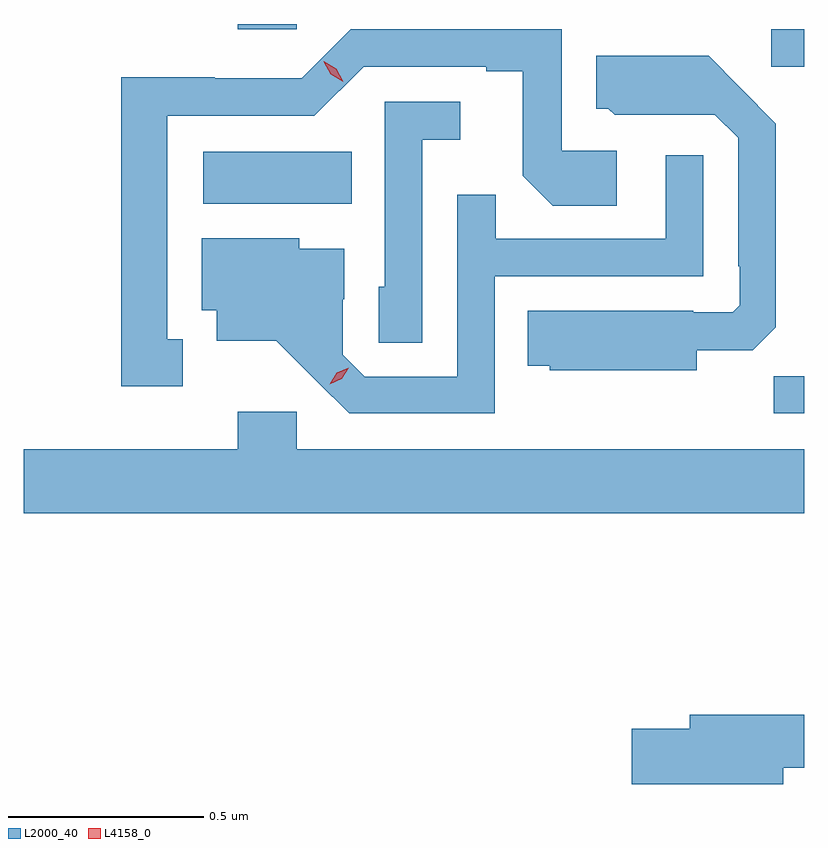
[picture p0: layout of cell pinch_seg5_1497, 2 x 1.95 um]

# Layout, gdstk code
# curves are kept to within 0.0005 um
import gdstk
lib = gdstk.Library(unit=1e-6, precision=1e-09)
def R(c, l, rs):  # rectangles x0, y0, x1, y1
    for r in rs: c.add(gdstk.rectangle(r[:2], r[2:], *l))
def P(c, l, *ps):  # polygons
    for p in ps: c.add(gdstk.Polygon(p, *l))
L2000_40 = (2000, 40)
L4158_0 = (4158, 0)

pinch_seg5_1497 = lib.new_cell('pinch_seg5_1497')
R(pinch_seg5_1497, L2000_40, [(162.37,882.324,162.448,882.419), (160.908,882.86,161.288,882.994), (162.363,883.212,162.448,883.308), (160.997,883.307,161.148,883.321)])
P(pinch_seg5_1497, L2000_40, [(160.855,882.513),(160.816,882.513),(160.816,883.086),(161.193,883.086),(161.319,883.212),(161.633,883.212),(161.633,883.2),(161.727,883.2),(161.727,882.932),(161.803,882.856),(161.968,882.856),(161.968,882.996),(161.826,882.996),(161.826,883.308),(161.286,883.308),(161.16,883.182),(160.938,883.182),(160.938,883.184),(160.698,883.184),(160.698,882.393),(160.855,882.393)],
  [(162.172,882.485),(162.316,882.485),(162.375,882.544),(162.375,883.066),(162.203,883.24),(161.915,883.24),(161.915,883.104),(161.946,883.104),(161.962,883.088),(162.096,883.088),(162.096,883.089),(162.219,883.089),(162.279,883.029),(162.279,882.7),(162.282,882.7),(162.282,882.6),(162.264,882.582),(162.164,882.582),(162.164,882.586),(161.74,882.586),(161.74,882.446),(161.796,882.446),(161.796,882.434),(162.172,882.434)],
  [(161.469,883.025),(161.566,883.025),(161.566,883.122),(161.373,883.122),(161.373,882.648),(161.358,882.648),(161.358,882.505),(161.469,882.505)],
  [(161.655,882.675),(162.189,882.675),(162.189,882.985),(162.093,882.985),(162.093,882.771),(161.657,882.771),(161.657,882.884),(161.559,882.884),(161.559,882.417),(161.322,882.417),(161.265,882.474),(161.265,882.616),(161.269,882.616),(161.269,882.745),(161.154,882.745),(161.154,882.772),(160.904,882.772),(160.904,882.588),(160.943,882.588),(160.943,882.509),(161.095,882.509),(161.282,882.324),(161.655,882.324)],
  [(162.448,882.232),(161.148,882.232),(161.148,882.328),(160.997,882.328),(160.997,882.232),(160.448,882.232),(160.448,882.068),(162.448,882.068)],
  [(162.394,881.416),(162.448,881.416),(162.448,881.552),(162.155,881.552),(162.155,881.516),(162.006,881.516),(162.006,881.374),(162.394,881.374)])
P(pinch_seg5_1497, L4158_0, [(161.232,882.398),(161.232,882.398),(161.25,882.427),(161.281,882.441),(161.281,882.441),(161.281,882.441),(161.263,882.412),(161.232,882.398)],
  [(161.267,883.173),(161.235,883.192),(161.217,883.224),(161.217,883.225),(161.217,883.225),(161.249,883.206),(161.267,883.173),(161.267,883.173)])

lib.write_gds('pinch_seg5_1497.gds')
